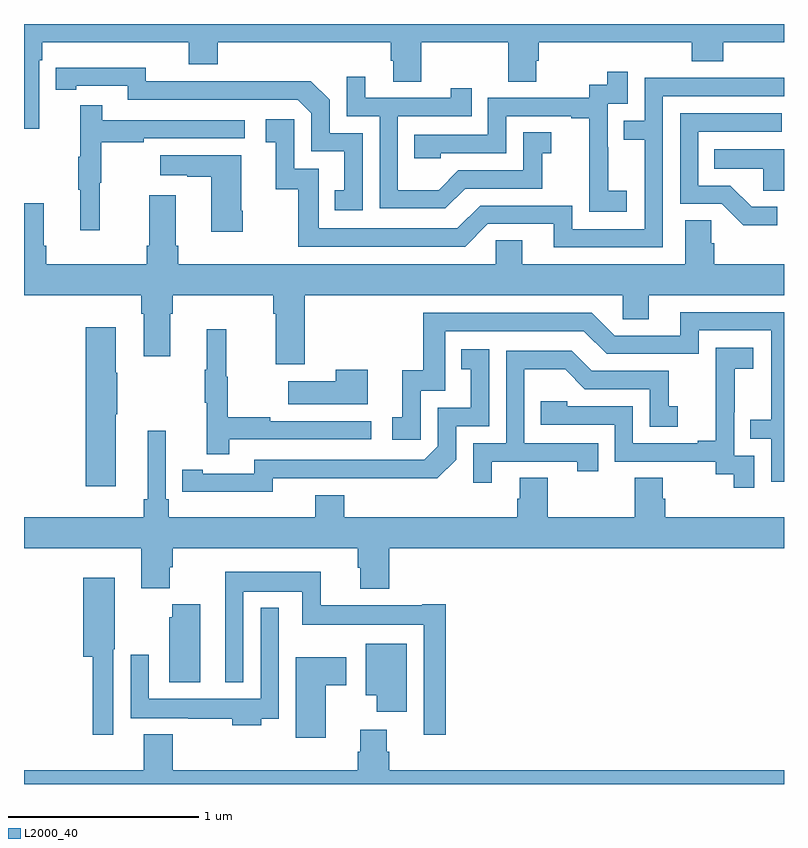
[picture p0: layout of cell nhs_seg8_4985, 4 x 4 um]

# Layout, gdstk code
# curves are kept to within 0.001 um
import gdstk
lib = gdstk.Library(unit=1e-6, precision=1e-09)
def P(c, l, *ps):  # polygons
    for p in ps: c.add(gdstk.Polygon(p, *l))
L2000_40 = (2000, 40)

nhs_seg8_4985 = lib.new_cell('nhs_seg8_4985')
P(nhs_seg8_4985, L2000_40, [(411.081,1145.708),(411.095,1145.708),(411.095,1145.804),(411.866,1145.804),(411.866,1145.687),(412.019,1145.687),(412.019,1145.804),(412.931,1145.804),(412.931,1145.706),(412.943,1145.706),(412.943,1145.596),(413.091,1145.596),(413.091,1145.804),(413.548,1145.804),(413.548,1145.596),(413.695,1145.596),(413.695,1145.706),(413.708,1145.706),(413.708,1145.804),(414.515,1145.804),(414.515,1145.705),(414.68,1145.705),(414.68,1145.804),(415,1145.804),(415,1145.9),(411,1145.9),(411,1145.349),(411.081,1145.349)],
  [(412.782,1145.325),(412.608,1145.325),(412.608,1145.502),(412.51,1145.6),(412.102,1145.6),(412.102,1145.598),(411.642,1145.598),(411.642,1145.671),(411.166,1145.67),(411.166,1145.554),(411.274,1145.554),(411.274,1145.574),(411.546,1145.574),(411.546,1145.502),(412.44,1145.502),(412.512,1145.43),(412.512,1145.229),(412.685,1145.229),(412.685,1145.025),(412.636,1145.025),(412.636,1144.92),(412.782,1144.92)],
  [(414.172,1145.023),(414.074,1145.023),(414.074,1145.252),(414.072,1145.252),(414.072,1145.481),(414.177,1145.481),(414.177,1145.65),(414.069,1145.65),(414.069,1145.58),(413.976,1145.58),(413.976,1145.511),(413.442,1145.511),(413.442,1145.316),(413.053,1145.316),(413.053,1145.193),(413.193,1145.193),(413.193,1145.22),(413.538,1145.22),(413.538,1145.415),(413.879,1145.415),(413.879,1145.403),(413.975,1145.403),(413.975,1145.119),(413.974,1145.119),(413.974,1144.913),(414.172,1144.913)],
  [(413.323,1145.034),(413.727,1145.034),(413.727,1145.219),(413.776,1145.219),(413.776,1145.329),(413.628,1145.329),(413.628,1145.13),(413.286,1145.13),(413.182,1145.026),(412.968,1145.026),(412.968,1145.415),(413.357,1145.415),(413.357,1145.563),(413.246,1145.563),(413.246,1145.511),(412.795,1145.511),(412.795,1145.623),(412.698,1145.623),(412.698,1145.415),(412.872,1145.415),(412.872,1144.929),(413.218,1144.929)],
  [(414.363,1145.52),(415,1145.52),(415,1145.618),(414.763,1145.618),(414.763,1145.616),(414.267,1145.616),(414.267,1145.391),(414.157,1145.391),(414.157,1145.29),(414.267,1145.29),(414.267,1144.821),(413.886,1144.821),(413.886,1144.944),(413.4,1144.944),(413.28,1144.824),(412.551,1144.824),(412.551,1145.139),(412.422,1145.139),(412.422,1145.398),(412.272,1145.398),(412.272,1145.277),(412.325,1145.277),(412.325,1145.031),(412.443,1145.031),(412.443,1144.728),(413.322,1144.728),(413.442,1144.848),(413.789,1144.848),(413.789,1144.725),(414.363,1144.725)],
  [(411.398,1145.064),(411.406,1145.064),(411.406,1145.278),(411.629,1145.278),(411.629,1145.298),(412.162,1145.298),(412.162,1145.394),(411.413,1145.394),(411.413,1145.473),(411.296,1145.473),(411.296,1145.201),(411.285,1145.201),(411.285,1145.027),(411.296,1145.027),(411.296,1144.815),(411.398,1144.815)],
  [(414.964,1144.938),(414.829,1144.938),(414.718,1145.049),(414.549,1145.049),(414.549,1145.334),(414.988,1145.334),(414.988,1145.43),(414.453,1145.43),(414.453,1144.953),(414.672,1144.953),(414.785,1144.841),(414.964,1144.841)],
  [(415,1145.242),(414.634,1145.242),(414.634,1145.138),(414.891,1145.138),(414.891,1145.023),(415,1145.023)],
  [(412.152,1144.918),(412.144,1144.918),(412.144,1145.209),(411.717,1145.209),(411.717,1145.105),(411.86,1145.105),(411.86,1145.095),(411.986,1145.095),(411.986,1144.806),(412.152,1144.806)],
  [(412.478,1144.472),(414.15,1144.472),(414.15,1144.345),(414.289,1144.345),(414.289,1144.472),(415,1144.472),(415,1144.636),(414.632,1144.636),(414.632,1144.745),(414.618,1144.745),(414.618,1144.868),(414.479,1144.868),(414.479,1144.636),(413.623,1144.636),(413.623,1144.763),(413.484,1144.763),(413.484,1144.636),(411.812,1144.636),(411.812,1144.732),(411.799,1144.732),(411.799,1144.999),(411.659,1144.999),(411.659,1144.732),(411.647,1144.732),(411.647,1144.636),(411.116,1144.636),(411.116,1144.732),(411.103,1144.732),(411.103,1144.957),(411,1144.957),(411,1144.472),(411.617,1144.472),(411.617,1144.376),(411.629,1144.376),(411.629,1144.152),(411.769,1144.152),(411.769,1144.376),(411.782,1144.376),(411.782,1144.472),(412.313,1144.472),(412.313,1144.376),(412.325,1144.376),(412.325,1144.11),(412.478,1144.11)],
  [(415,1144.383),(414.455,1144.383),(414.455,1144.26),(414.108,1144.26),(413.988,1144.38),(413.101,1144.38),(413.101,1144.078),(412.991,1144.078),(412.991,1143.831),(412.938,1143.831),(412.938,1143.711),(413.088,1143.711),(413.088,1143.969),(413.217,1143.969),(413.217,1144.284),(413.946,1144.284),(414.066,1144.164),(414.552,1144.164),(414.552,1144.287),(414.933,1144.287),(414.933,1143.818),(414.823,1143.818),(414.823,1143.717),(414.933,1143.717),(414.933,1143.492),(415,1143.492)],
  [(411.484,1143.847),(411.492,1143.847),(411.492,1144.064),(411.484,1144.064),(411.484,1144.303),(411.326,1144.303),(411.326,1143.468),(411.484,1143.468)],
  [(412.079,1143.714),(412.828,1143.714),(412.828,1143.81),(412.295,1143.81),(412.295,1143.83),(412.072,1143.83),(412.072,1144.044),(412.064,1144.044),(412.064,1144.294),(411.962,1144.294),(411.962,1144.081),(411.951,1144.081),(411.951,1143.907),(411.962,1143.907),(411.962,1143.636),(412.079,1143.636)],
  [(414.843,1143.627),(414.738,1143.627),(414.738,1143.857),(414.74,1143.857),(414.74,1144.085),(414.838,1144.085),(414.838,1144.195),(414.64,1144.195),(414.64,1143.989),(414.641,1143.989),(414.641,1143.706),(414.545,1143.706),(414.545,1143.693),(414.204,1143.693),(414.204,1143.888),(413.859,1143.888),(413.859,1143.915),(413.719,1143.915),(413.719,1143.792),(414.108,1143.792),(414.108,1143.597),(414.642,1143.597),(414.642,1143.529),(414.735,1143.529),(414.735,1143.459),(414.843,1143.459)],
  [(412.308,1143.51),(413.176,1143.509),(413.274,1143.606),(413.274,1143.783),(413.448,1143.783),(413.448,1144.189),(413.302,1144.189),(413.302,1144.083),(413.351,1144.083),(413.351,1143.879),(413.178,1143.879),(413.178,1143.678),(413.106,1143.606),(412.212,1143.606),(412.212,1143.534),(411.94,1143.534),(411.94,1143.554),(411.832,1143.554),(411.832,1143.438),(412.308,1143.437)],
  [(413.461,1143.597),(413.912,1143.597),(413.912,1143.546),(414.023,1143.546),(414.023,1143.693),(413.634,1143.693),(413.634,1144.082),(413.848,1144.082),(413.952,1143.978),(414.294,1143.978),(414.294,1143.78),(414.442,1143.78),(414.442,1143.889),(414.393,1143.889),(414.393,1144.074),(413.989,1144.074),(413.884,1144.179),(413.538,1144.179),(413.538,1143.693),(413.364,1143.693),(413.364,1143.486),(413.461,1143.486)],
  [(412.81,1144.081),(412.64,1144.081),(412.64,1144.021),(412.391,1144.021),(412.391,1143.899),(412.81,1143.899)],
  [(412.922,1143.14),(415,1143.14),(415,1143.304),(414.374,1143.304),(414.374,1143.402),(414.361,1143.402),(414.361,1143.512),(414.214,1143.512),(414.214,1143.304),(413.757,1143.304),(413.757,1143.512),(413.609,1143.512),(413.609,1143.402),(413.597,1143.402),(413.597,1143.304),(412.685,1143.304),(412.685,1143.421),(412.532,1143.421),(412.532,1143.304),(411.761,1143.304),(411.761,1143.4),(411.747,1143.4),(411.747,1143.76),(411.65,1143.76),(411.65,1143.4),(411.631,1143.4),(411.631,1143.304),(411,1143.304),(411,1143.14),(411.617,1143.14),(411.617,1142.931),(411.767,1142.931),(411.767,1143.041),(411.782,1143.041),(411.782,1143.14),(412.757,1143.14),(412.757,1143.039),(412.769,1143.039),(412.769,1142.927),(412.922,1142.927)],
  [(413.219,1142.845),(413.096,1142.845),(413.096,1142.842),(412.562,1142.842),(412.562,1143.016),(412.058,1143.016),(412.058,1142.435),(412.155,1142.435),(412.155,1142.912),(412.464,1142.912),(412.464,1142.738),(413.103,1142.738),(413.103,1142.16),(413.219,1142.16)],
  [(411.471,1142.61),(411.478,1142.61),(411.478,1142.986),(411.313,1142.986),(411.313,1142.57),(411.363,1142.57),(411.363,1142.16),(411.471,1142.16)],
  [(411.928,1142.847),(411.78,1142.847),(411.78,1142.778),(411.764,1142.778),(411.764,1142.435),(411.928,1142.435)],
  [(412.249,1142.244),(412.341,1142.244),(412.341,1142.827),(412.245,1142.827),(412.245,1142.35),(411.657,1142.35),(411.657,1142.581),(411.561,1142.581),(411.561,1142.246),(411.865,1142.246),(411.865,1142.244),(412.097,1142.244),(412.097,1142.21),(412.249,1142.21)],
  [(413.014,1142.638),(412.799,1142.638),(412.799,1142.366),(412.856,1142.366),(412.856,1142.28),(413.014,1142.28)],
  [(412.588,1142.419),(412.696,1142.419),(412.696,1142.566),(412.43,1142.566),(412.43,1142.144),(412.588,1142.144)],
  [(415,1141.972),(412.922,1141.972),(412.922,1142.07),(412.909,1142.07),(412.909,1142.185),(412.769,1142.185),(412.769,1142.07),(412.757,1142.07),(412.757,1141.972),(411.782,1141.972),(411.782,1142.161),(411.629,1142.161),(411.629,1141.972),(411,1141.972),(411,1141.9),(415,1141.9)])

lib.write_gds('nhs_seg8_4985.gds')
